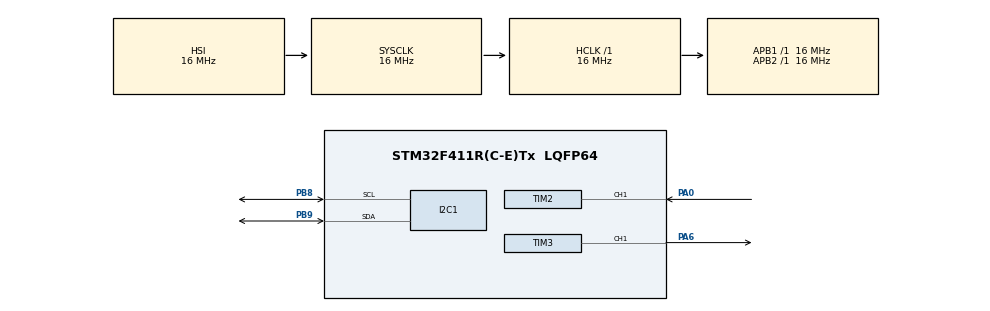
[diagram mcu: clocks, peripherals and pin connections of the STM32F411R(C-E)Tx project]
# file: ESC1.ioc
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Mcu.Family=STM32F4
Mcu.Name=STM32F411R(C-E)Tx
Mcu.Package=LQFP64
NVIC.PriorityGroup=NVIC_PRIORITYGROUP_4
NVIC.TIM2_IRQn=true\:0\:0\:false\:false\:true\:true\:true\:true
PA0-WKUP.Signal=S_TIM2_CH1_ETR
PA6.Signal=S_TIM3_CH1
PB8.Mode=I2C
PB8.Signal=I2C1_SCL
PB9.Mode=I2C
PB9.Signal=I2C1_SDA
ProjectManager.HeapSize=0x200
ProjectManager.StackSize=0x400
ProjectManager.TargetToolchain=STM32CubeIDE
RCC.AHBFreq_Value=16000000
RCC.APB1Freq_Value=16000000
RCC.APB2Freq_Value=16000000
RCC.CortexFreq_Value=16000000
RCC.HSE_VALUE=25000000
RCC.HSI_VALUE=16000000
RCC.LSE_VALUE=32768
RCC.SYSCLKFreq_VALUE=16000000
RCC.VCOOutputFreq_Value=192000000
SH.S_TIM2_CH1_ETR.0=TIM2_CH1,Input_Capture1_from_TI1
SH.S_TIM3_CH1.0=TIM3_CH1,PWM Generation1 CH1
TIM2.Channel-Input_Capture1_from_TI1=TIM_CHANNEL_1
TIM2.Prescaler=1
TIM3.Channel-PWM\ Generation1\ CH1=TIM_CHANNEL_1
TIM3.Period=19999
TIM3.Prescaler=15
TIM3.Pulse-PWM\ Generation1\ CH1=800
board=custom

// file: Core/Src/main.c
/* USER CODE BEGIN Header */
/**
  ******************************************************************************
  * @file           : main.c
  * @brief          : PPM (TIM2 CH1 PA0) -> ESC PWM (TIM3 CH1 PA6) + OLED display
  ******************************************************************************
  */
/* USER CODE END Header */
#include "main.h"

/* USER CODE BEGIN Includes */
#include <stdint.h>
#include <stdio.h>
#include "SH1106.h"
#include "fonts.h"
/* USER CODE END Includes */

I2C_HandleTypeDef hi2c1;

TIM_HandleTypeDef htim2;
TIM_HandleTypeDef htim3;

/* USER CODE BEGIN PV */
/* -------------------- PPM settings -------------------- */
#define PPM_CH_MAX          10
#define PPM_SYNC_US         3000   // >3ms -> sync gap
#define PPM_PULSE_MIN_US    800
#define PPM_PULSE_MAX_US    2200

// Kanal indexleri (PPM sırası: CH1=0, CH2=1, CH3=2, CH4=3 ...)
#define ROLL_CH_INDEX       0  // CH1
#define PITCH_CH_INDEX      1  // CH2
#define THROTTLE_CH_INDEX   2  // CH3
#define YAW_CH_INDEX        3  // CH4

/* PPM decoded channels (us) */
volatile uint16_t ppm_ch[PPM_CH_MAX] = {1500};
volatile uint8_t  ppm_ch_count = 0;

/* Timing */
static volatile uint32_t last_cap = 0;
static volatile uint8_t  ch_idx = 0;

/* Failsafe timer */
volatile uint32_t ppm_last_ms = 0;
/* USER CODE END PV */

void SystemClock_Config(void);
static void MX_GPIO_Init(void);
static void MX_TIM3_Init(void);
static void MX_TIM2_Init(void);
static void MX_I2C1_Init(void);

/* USER CODE BEGIN PFP */
static inline void ESC_WriteUs(uint16_t us);
static inline uint16_t map_u16(uint16_t x,
                               uint16_t in_min, uint16_t in_max,
                               uint16_t out_min, uint16_t out_max);
static inline int16_t ppm_to_percent(uint16_t us);
void displayScreen(const char *str);
/* USER CODE END PFP */

int main(void)
{
  HAL_Init();
  SystemClock_Config();

  MX_GPIO_Init();
  MX_TIM3_Init();
  MX_TIM2_Init();
  MX_I2C1_Init();

  SH1106_Init();

  /* ESC PWM start */
  HAL_TIM_PWM_Start(&htim3, TIM_CHANNEL_1);

  /* ESC arming: minimum pulse */
  ESC_WriteUs(1000);
  HAL_Delay(3000);

  /* PPM input capture start */
  ppm_last_ms = HAL_GetTick();
  last_cap = 0;
  ch_idx = 0;
  ppm_ch_count = 0;

  displayScreen("Booting...");
  HAL_TIM_IC_Start_IT(&htim2, TIM_CHANNEL_1);
  static uint16_t thr_f    = 1000;
  static uint16_t last_out = 1000;
  uint32_t t_esc = 0, t_oled = 0;
  while(1){
    uint32_t now = HAL_GetTick();

    // failsafe aynen...

    if (now - t_esc >= 5) {              // 5ms => 200Hz ESC update
      t_esc = now;

      uint16_t thr = ppm_ch[THROTTLE_CH_INDEX];
      if (thr < 1000) thr = 1000;
      if (thr > 2000) thr = 2000;

      thr_f = (uint16_t)((thr_f * 19 + thr) / 20);   // daha yumuşak (0.95)
      uint16_t out = thr_f;
      if ((out > last_out && out - last_out <= 2) || (last_out > out && last_out - out <= 2)) {
        out = last_out; // deadband 2us
      }
      last_out = out;

      ESC_WriteUs(last_out);     // map etme gerek yok, direkt 1000..2000 yolla
    }

     /* int16_t roll_pct  = ppm_to_percent(ppm_ch[ROLL_CH_INDEX]);
      int16_t pitch_pct = ppm_to_percent(ppm_ch[PITCH_CH_INDEX]);
      int16_t yaw_pct   = ppm_to_percent(ppm_ch[YAW_CH_INDEX]);

      char l1[24], l2[24], l3[24], l4[24];

      snprintf(l1, sizeof(l1), "ROLL : %4d%%", roll_pct);
      snprintf(l2, sizeof(l2), "PITCH: %4d%%", pitch_pct);
      snprintf(l3, sizeof(l3), "YAW  : %4d%%", yaw_pct);
      snprintf(l4, sizeof(l4), "THR  : %4uus", last_out); // <-- motora giden

      SH1106_Clear();
      SH1106_GotoXY(0, 0);   SH1106_Puts(l1, &Font_7x10, 1);
      SH1106_GotoXY(0, 12);  SH1106_Puts(l2, &Font_7x10, 1);
      SH1106_GotoXY(0, 24);  SH1106_Puts(l3, &Font_7x10, 1);
      SH1106_GotoXY(0, 36);  SH1106_Puts(l4, &Font_7x10, 1);
      SH1106_UpdateScreen();*/

  }
}

/**
  * @brief TIM2 input capture callback (RISING edge only)
  * diff = time between rising edges (us) -> TIM2 tick MUST be 1us
  */
void HAL_TIM_IC_CaptureCallback(TIM_HandleTypeDef *htim)
{
  if (htim->Instance == TIM2 && htim->Channel == HAL_TIM_ACTIVE_CHANNEL_1)
  {
    uint32_t cap = HAL_TIM_ReadCapturedValue(htim, TIM_CHANNEL_1);

    uint32_t diff;
    if (cap >= last_cap) diff = cap - last_cap;
    else diff = (0xFFFFFFFFu - last_cap + cap + 1u);

    last_cap = cap;
    if (diff == 0) return;

    /* Sync gap -> new frame */
    if (diff > PPM_SYNC_US)
    {
      ch_idx = 0;
      ppm_ch_count = 0;
      return;
    }

    /* Channel pulse width */
    if (diff >= PPM_PULSE_MIN_US && diff <= PPM_PULSE_MAX_US)
    {
      if (ch_idx < PPM_CH_MAX)
      {
        ppm_ch[ch_idx] = (uint16_t)diff;
        ch_idx++;
        ppm_ch_count = ch_idx;
        ppm_last_ms = HAL_GetTick();
      }
    }
  }
}

/* ---- helpers ---- */
static inline void ESC_WriteUs(uint16_t us)
{
  if (us < 1000) us = 1000;
  if (us > 2000) us = 2000;
  __HAL_TIM_SET_COMPARE(&htim3, TIM_CHANNEL_1, us);
}

static inline uint16_t map_u16(uint16_t x,
                               uint16_t in_min, uint16_t in_max,
                               uint16_t out_min, uint16_t out_max)
{
  if (x <= in_min) return out_min;
  if (x >= in_max) return out_max;
  return (uint16_t)(out_min +
                    (uint32_t)(x - in_min) * (out_max - out_min) /
                    (in_max - in_min));
}

/* 1000..2000us -> -100..+100 (%), 1500us -> 0% */
static inline int16_t ppm_to_percent(uint16_t us)
{
  if (us < 1000) us = 1000;
  if (us > 2000) us = 2000;
  return (int16_t)(((int32_t)us - 1500) * 100 / 500);
}

void displayScreen(const char *str)
{
  SH1106_Clear();
  SH1106_GotoXY(0, 0);
  SH1106_Puts((char*)str, &Font_7x10, 1);
  SH1106_UpdateScreen();
}

/* --- CubeMX generated init functions below --- */

void SystemClock_Config(void)
{
  RCC_OscInitTypeDef RCC_OscInitStruct = {0};
  RCC_ClkInitTypeDef RCC_ClkInitStruct = {0};

  __HAL_RCC_PWR_CLK_ENABLE();
  __HAL_PWR_VOLTAGESCALING_CONFIG(PWR_REGULATOR_VOLTAGE_SCALE1);

  RCC_OscInitStruct.OscillatorType = RCC_OSCILLATORTYPE_HSI;
  RCC_OscInitStruct.HSIState = RCC_HSI_ON;
  RCC_OscInitStruct.HSICalibrationValue = RCC_HSICALIBRATION_DEFAULT;
  RCC_OscInitStruct.PLL.PLLState = RCC_PLL_NONE;
  if (HAL_RCC_OscConfig(&RCC_OscInitStruct) != HAL_OK) Error_Handler();

  RCC_ClkInitStruct.ClockType = RCC_CLOCKTYPE_HCLK|RCC_CLOCKTYPE_SYSCLK
                              |RCC_CLOCKTYPE_PCLK1|RCC_CLOCKTYPE_PCLK2;
  RCC_ClkInitStruct.SYSCLKSource = RCC_SYSCLKSOURCE_HSI;
  RCC_ClkInitStruct.AHBCLKDivider = RCC_SYSCLK_DIV1;
  RCC_ClkInitStruct.APB1CLKDivider = RCC_HCLK_DIV1;
  RCC_ClkInitStruct.APB2CLKDivider = RCC_HCLK_DIV1;

  if (HAL_RCC_ClockConfig(&RCC_ClkInitStruct, FLASH_LATENCY_0) != HAL_OK) Error_Handler();
}

static void MX_I2C1_Init(void)
{
  hi2c1.Instance = I2C1;
  hi2c1.Init.ClockSpeed = 100000;
  hi2c1.Init.DutyCycle = I2C_DUTYCYCLE_2;
  hi2c1.Init.OwnAddress1 = 0;
  hi2c1.Init.AddressingMode = I2C_ADDRESSINGMODE_7BIT;
  hi2c1.Init.DualAddressMode = I2C_DUALADDRESS_DISABLE;
  hi2c1.Init.OwnAddress2 = 0;
  hi2c1.Init.GeneralCallMode = I2C_GENERALCALL_DISABLE;
  hi2c1.Init.NoStretchMode = I2C_NOSTRETCH_DISABLE;
  if (HAL_I2C_Init(&hi2c1) != HAL_OK) Error_Handler();
}

static void MX_TIM2_Init(void)
{
  TIM_MasterConfigTypeDef sMasterConfig = {0};
  TIM_IC_InitTypeDef sConfigIC = {0};

  htim2.Instance = TIM2;

  /* ÖNEMLİ:
     TIM2 tick 1us olmalı. Timer clock'un kaç MHz ise:
     PSC = (timer_clk_MHz - 1)
     Örn 16MHz ise PSC=15.
     Senin ioc'tan ayarlaman daha doğru. */
  htim2.Init.Prescaler = 15; // <-- gerekirse .ioc'a göre değiştir
  htim2.Init.CounterMode = TIM_COUNTERMODE_UP;
  htim2.Init.Period = 0xFFFFFFFF;
  htim2.Init.ClockDivision = TIM_CLOCKDIVISION_DIV1;
  htim2.Init.AutoReloadPreload = TIM_AUTORELOAD_PRELOAD_DISABLE;
  if (HAL_TIM_IC_Init(&htim2) != HAL_OK) Error_Handler();

  sMasterConfig.MasterOutputTrigger = TIM_TRGO_RESET;
  sMasterConfig.MasterSlaveMode = TIM_MASTERSLAVEMODE_DISABLE;
  if (HAL_TIMEx_MasterConfigSynchronization(&htim2, &sMasterConfig) != HAL_OK) Error_Handler();

  sConfigIC.ICPolarity = TIM_INPUTCHANNELPOLARITY_RISING;
  sConfigIC.ICSelection = TIM_ICSELECTION_DIRECTTI;
  sConfigIC.ICPrescaler = TIM_ICPSC_DIV1;
  sConfigIC.ICFilter = 0;
  if (HAL_TIM_IC_ConfigChannel(&htim2, &sConfigIC, TIM_CHANNEL_1) != HAL_OK) Error_Handler();
}

static void MX_TIM3_Init(void)
{
  TIM_MasterConfigTypeDef sMasterConfig = {0};
  TIM_OC_InitTypeDef sConfigOC = {0};

  htim3.Instance = TIM3;
  htim3.Init.Prescaler = 15; // 1us tick (16MHz/(15+1)=1MHz)
  htim3.Init.CounterMode = TIM_COUNTERMODE_UP;
  htim3.Init.Period = 19999; // 20ms
  htim3.Init.ClockDivision = TIM_CLOCKDIVISION_DIV1;
  htim3.Init.AutoReloadPreload = TIM_AUTORELOAD_PRELOAD_DISABLE;
  if (HAL_TIM_PWM_Init(&htim3) != HAL_OK) Error_Handler();

  sMasterConfig.MasterOutputTrigger = TIM_TRGO_RESET;
  sMasterConfig.MasterSlaveMode = TIM_MASTERSLAVEMODE_DISABLE;
  if (HAL_TIMEx_MasterConfigSynchronization(&htim3, &sMasterConfig) != HAL_OK) Error_Handler();

  sConfigOC.OCMode = TIM_OCMODE_PWM1;
  sConfigOC.Pulse = 800;
  sConfigOC.OCPolarity = TIM_OCPOLARITY_HIGH;
  sConfigOC.OCFastMode = TIM_OCFAST_DISABLE;
  if (HAL_TIM_PWM_ConfigChannel(&htim3, &sConfigOC, TIM_CHANNEL_1) != HAL_OK) Error_Handler();

  HAL_TIM_MspPostInit(&htim3);
}

static void MX_GPIO_Init(void)
{
  __HAL_RCC_GPIOA_CLK_ENABLE();
  __HAL_RCC_GPIOB_CLK_ENABLE();
}

void Error_Handler(void)
{
  __disable_irq();
  while (1) {}
}
